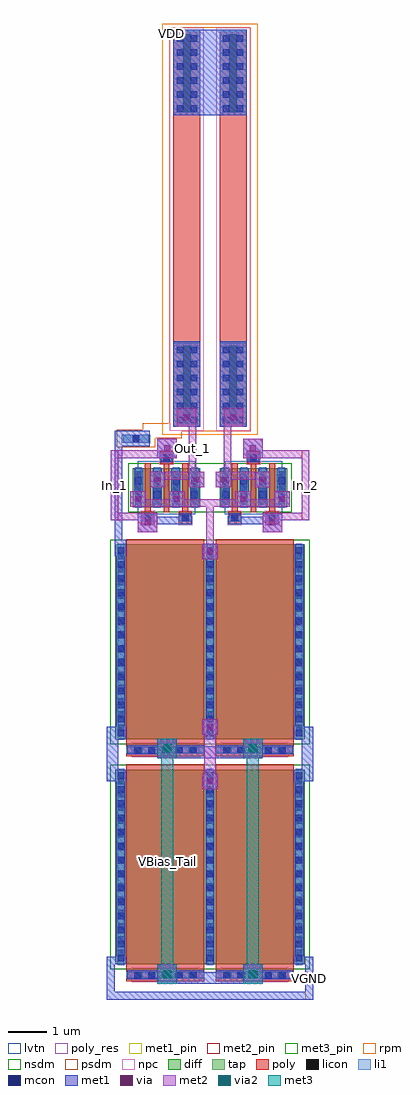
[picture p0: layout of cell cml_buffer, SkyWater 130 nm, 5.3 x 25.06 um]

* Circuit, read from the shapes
.subckt cml_buffer In_1 In_2 Out_1 Out_2 VBias_Tail VDD VGND
XM1 n1 VBias_Tail VGND VGND sky130_fd_pr__nfet_01v8 w=5 l=2 m=4
XM2 Out_1 In_1 n1 VGND sky130_fd_pr__nfet_01v8_lvt w=1 l=0.15 m=3
XM3 n1 In_2 Out_2 VGND sky130_fd_pr__nfet_01v8_lvt w=1 l=0.15 m=3
XR4 VDD Out_1 VGND sky130_fd_pr__res_high_po w=0.69 l=5.88
XR5 VDD Out_2 VGND sky130_fd_pr__res_high_po w=0.69 l=5.88
.ends

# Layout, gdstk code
from math import pi, radians
import gdstk
lib = gdstk.Library(unit=1e-6, precision=1e-09)
def R(c, l, rs):  # rectangles x0, y0, x1, y1
    for r in rs: c.add(gdstk.rectangle(r[:2], r[2:], *l))
def A(c, l, x, y, w, h, nx, ny, dx, dy):  # array of equal rectangles
    R(c, l, [(x+i*dx, y+j*dy, x+i*dx+w, y+j*dy+h) for i in range(nx) for j in range(ny)])
diff = (65, 20)
tap = (65, 44)
poly_res = (66, 13)
poly = (66, 20)
licon = (66, 44)
li1 = (67, 20)
mcon = (67, 44)
met1_pin = (68, 16)
met1 = (68, 20)
via = (68, 44)
met2_pin = (69, 16)
met2 = (69, 20)
via2 = (69, 44)
met3_pin = (70, 16)
met3 = (70, 20)
rpm = (86, 20)
nsdm = (93, 44)
psdm = (94, 20)
npc = (95, 20)
lvtn = (125, 44)

sky130_fd_pr__nfet_01v8_ = lib.new_cell('sky130_fd_pr__nfet_01v8_2FLCLW')
R(sky130_fd_pr__nfet_01v8_, diff, [(-2.435,-5.235,2.435,-0.235), (-2.435,0.545,2.435,5.545)])
R(sky130_fd_pr__nfet_01v8_, poly, [(-2.145,-5.675,-0.145,-0.105), (0.145,-5.675,2.145,-0.105), (-2.145,0.105,-0.145,5.675), (0.145,0.105,2.145,5.675)])
A(sky130_fd_pr__nfet_01v8_, licon, -1.91, -5.595, 0.17, 0.17, 5, 2, 0.34, 5.78)
A(sky130_fd_pr__nfet_01v8_, licon, 0.38, -5.595, 0.17, 0.17, 5, 2, 0.34, 5.78)
A(sky130_fd_pr__nfet_01v8_, licon, -2.375, -5.03, 0.17, 0.17, 3, 14, 2.29, 0.34)
A(sky130_fd_pr__nfet_01v8_, licon, -2.375, 0.75, 0.17, 0.17, 3, 14, 2.29, 0.34)
A(sky130_fd_pr__nfet_01v8_, li1, -2.375, -5.255, 0.17, 5.04, 3, 2, 2.29, 5.78)
R(sky130_fd_pr__nfet_01v8_, li1, [(-2.145,-5.595,-0.145,-5.425), (0.145,-5.595,2.145,-5.425), (-2.145,0.185,-0.145,0.355), (0.145,0.185,2.145,0.355)])
A(sky130_fd_pr__nfet_01v8_, mcon, -1.95, -5.595, 0.17, 0.17, 5, 2, 0.36, 5.78)
A(sky130_fd_pr__nfet_01v8_, mcon, 0.34, -5.595, 0.17, 0.17, 5, 2, 0.36, 5.78)
A(sky130_fd_pr__nfet_01v8_, mcon, -2.375, -5.16, 0.17, 0.17, 3, 14, 2.29, 0.36)
A(sky130_fd_pr__nfet_01v8_, mcon, -2.375, 0.62, 0.17, 0.17, 3, 14, 2.29, 0.36)
A(sky130_fd_pr__nfet_01v8_, met1, -2.405, -5.235, 0.23, 5, 3, 2, 2.29, 5.78)
R(sky130_fd_pr__nfet_01v8_, met1, [(-2.125,-5.625,-0.165,-5.395), (0.165,-5.625,2.125,-5.395), (-2.125,0.155,-0.165,0.385), (0.165,0.155,2.125,0.385)])
R(sky130_fd_pr__nfet_01v8_, nsdm, [(-2.56,-5.36,2.56,-0.11), (-2.56,0.42,2.56,5.67)])
R(sky130_fd_pr__nfet_01v8_, npc, [(-2.01,-5.695,-0.28,-5.325), (0.28,-5.695,2.01,-5.325), (-2.01,0.085,-0.28,0.455), (0.28,0.085,2.01,0.455)])

sky130_fd_pr__res_high_p = lib.new_cell('sky130_fd_pr__res_high_po_0p69_VZF59X')
R(sky130_fd_pr__res_high_p, poly_res, [(-0.345,-3,0.345,3)])
R(sky130_fd_pr__res_high_p, poly, [(-0.345,-5.08,0.345,5.08)])
R(sky130_fd_pr__res_high_p, licon, [(-0.095,-5,0.095,-3), (-0.095,3,0.095,5)])
R(sky130_fd_pr__res_high_p, li1, [(-0.345,-5.08,0.345,-2.92), (-0.345,2.92,0.345,5.08)])
A(sky130_fd_pr__res_high_p, mcon, -0.265, -4.985, 0.17, 0.17, 1, 6, 0, 0.36)
A(sky130_fd_pr__res_high_p, mcon, 0.095, -4.985, 0.17, 0.17, 1, 6, 0, 0.36)
A(sky130_fd_pr__res_high_p, mcon, -0.265, 3.01, 0.17, 0.17, 1, 6, 0, 0.36)
A(sky130_fd_pr__res_high_p, mcon, 0.095, 3.01, 0.17, 0.17, 1, 6, 0, 0.36)
R(sky130_fd_pr__res_high_p, met1, [(-0.295,-5.05,0.295,-2.945), (-0.295,2.945,0.295,5.05)])
R(sky130_fd_pr__res_high_p, rpm, [(-0.635,-5.28,0.635,5.28)])
R(sky130_fd_pr__res_high_p, psdm, [(-0.455,-5.19,0.455,5.19)])
R(sky130_fd_pr__res_high_p, npc, [(-0.44,-5.175,0.44,5.175)])

c_sky130_fd_pr__nfet_01v8_ = lib.new_cell('sky130_fd_pr__nfet_01v8_lvt_LBHRTN')
R(c_sky130_fd_pr__nfet_01v8_, diff, [(-0.865,-0.5,0.865,0.5)])
R(c_sky130_fd_pr__nfet_01v8_, poly, [(-0.645,-0.94,-0.315,-0.61), (0.315,-0.94,0.645,-0.61), (-0.075,-0.63,0.075,0.61), (-0.555,-0.61,-0.405,0.63), (0.405,-0.61,0.555,0.63), (-0.165,0.61,0.165,0.94)])
A(c_sky130_fd_pr__nfet_01v8_, licon, -0.805, -0.425, 0.17, 0.17, 4, 3, 0.48, 0.34)
R(c_sky130_fd_pr__nfet_01v8_, licon, [(-0.565,-0.86,-0.395,-0.69), (0.395,-0.86,0.565,-0.69), (-0.085,0.69,0.085,0.86)])
A(c_sky130_fd_pr__nfet_01v8_, li1, -0.805, -0.52, 0.17, 1.04, 4, 1, 0.48, 0)
R(c_sky130_fd_pr__nfet_01v8_, li1, [(-0.645,-0.86,-0.315,-0.69), (0.315,-0.86,0.645,-0.69), (-0.165,0.69,0.165,0.86)])
A(c_sky130_fd_pr__nfet_01v8_, mcon, -0.805, -0.265, 0.17, 0.17, 4, 2, 0.48, 0.36)
R(c_sky130_fd_pr__nfet_01v8_, mcon, [(-0.565,-0.86,-0.395,-0.69), (0.395,-0.86,0.565,-0.69), (-0.085,0.69,0.085,0.86)])
A(c_sky130_fd_pr__nfet_01v8_, met1, -0.835, -0.5, 0.23, 1, 4, 1, 0.48, 0)
R(c_sky130_fd_pr__nfet_01v8_, met1, [(-0.625,-0.89,-0.335,-0.66), (0.335,-0.89,0.625,-0.66), (-0.145,0.66,0.145,0.89)])
R(c_sky130_fd_pr__nfet_01v8_, nsdm, [(-0.99,-0.625,0.99,0.625)])
R(c_sky130_fd_pr__nfet_01v8_, npc, [(-0.665,-0.96,-0.295,-0.59), (0.295,-0.96,0.665,-0.59), (-0.185,0.59,0.185,0.96)])
R(c_sky130_fd_pr__nfet_01v8_, lvtn, [(-0.735,-0.68,0.735,0.68)])

c_sky130_fd_pr__nfet_01v8__ = lib.new_cell('sky130_fd_pr__nfet_01v8_lvt_47EGUN')
R(c_sky130_fd_pr__nfet_01v8__, diff, [(-0.865,-0.5,0.865,0.5)])
R(c_sky130_fd_pr__nfet_01v8__, poly, [(-0.645,-0.94,-0.315,-0.61), (0.315,-0.94,0.645,-0.61), (-0.075,-0.63,0.075,0.61), (-0.555,-0.61,-0.405,0.63), (0.405,-0.61,0.555,0.63), (-0.165,0.61,0.165,0.94)])
A(c_sky130_fd_pr__nfet_01v8__, licon, -0.805, -0.425, 0.17, 0.17, 4, 3, 0.48, 0.34)
R(c_sky130_fd_pr__nfet_01v8__, licon, [(-0.565,-0.86,-0.395,-0.69), (0.395,-0.86,0.565,-0.69), (-0.085,0.69,0.085,0.86)])
A(c_sky130_fd_pr__nfet_01v8__, li1, -0.805, -0.52, 0.17, 1.04, 4, 1, 0.48, 0)
R(c_sky130_fd_pr__nfet_01v8__, li1, [(-0.645,-0.86,-0.315,-0.69), (0.315,-0.86,0.645,-0.69), (-0.165,0.69,0.165,0.86)])
A(c_sky130_fd_pr__nfet_01v8__, mcon, -0.805, -0.265, 0.17, 0.17, 4, 2, 0.48, 0.36)
R(c_sky130_fd_pr__nfet_01v8__, mcon, [(-0.565,-0.86,-0.395,-0.69), (0.395,-0.86,0.565,-0.69), (-0.085,0.69,0.085,0.86)])
A(c_sky130_fd_pr__nfet_01v8__, met1, -0.835, -0.5, 0.23, 1, 4, 1, 0.48, 0)
R(c_sky130_fd_pr__nfet_01v8__, met1, [(-0.625,-0.89,-0.335,-0.66), (0.335,-0.89,0.625,-0.66), (-0.145,0.66,0.145,0.89)])
R(c_sky130_fd_pr__nfet_01v8__, nsdm, [(-0.99,-0.625,0.99,0.625)])
R(c_sky130_fd_pr__nfet_01v8__, npc, [(-0.665,-0.96,-0.295,-0.59), (0.295,-0.96,0.665,-0.59), (-0.185,0.59,0.185,0.96)])
R(c_sky130_fd_pr__nfet_01v8__, lvtn, [(-0.735,-0.68,0.735,0.68)])

cml_buffer = lib.new_cell('cml_buffer')
R(cml_buffer, tap, [(-1.02,9.1,-0.28,9.3)])
R(cml_buffer, licon, [(-0.735,9.115,-0.565,9.285)])
R(cml_buffer, li1, [(-0.98,9.1,-0.32,9.3)])
R(cml_buffer, mcon, [(-0.735,9.115,-0.565,9.285)])
R(cml_buffer, met1_pin, [(3.7,-5.2,3.9,-4.1), (0.2,19.5,0.3,19.7)])
R(cml_buffer, met1, [(-1.4,-5.2,3.9,-5), (-1.4,-5,-1.2,-4.3), (3.7,-5,3.9,-4.3), (-0.1,-4.8,2.6,-4.5), (-0.1,-4.5,0.4,-4.3), (2.1,-4.5,2.6,-4.3), (-1.4,-4.3,-0.9,-4.1), (3.4,-4.3,3.9,-4.1), (1.05,0.2,1.45,0.6), (-1.4,0.4,-0.9,0.7), (3.4,0.4,3.9,0.7), (-1.4,0.7,-1.1,1.5), (3.6,0.7,3.9,1.5), (-0.1,1,2.6,1.3), (-0.1,1.3,0.4,1.5), (2.1,1.3,2.6,1.5), (-1.4,1.5,-0.9,1.8), (3.4,1.5,3.9,1.8), (1.05,1.6,1.45,2), (1.05,6.1,1.45,6.5), (-1.2,6.2,-0.9,6.6), (-1.2,6.6,-1,9), (-0.6,6.8,-0.1,7), (2.6,6.8,3.1,7), (-0.6,7,0.8,7.2), (1.7,7,3.1,7.2), (-0.6,7.2,-0.1,7.3), (2.6,7.2,3.1,7.3), (-0.8,7.45,-0.4,7.85), (0.2,7.45,0.6,7.85), (1.9,7.45,2.3,7.85), (2.9,7.45,3.3,7.85), (-0.2,7.5,0,7.95), (-0.3,7.95,0.1,8.35), (0.7,7.95,1.1,8.35), (1.4,7.95,1.8,8.35), (2.4,7.95,2.8,8.35), (-0.1,8.7,0.4,9.2), (2.1,8.7,2.6,9.2), (-1.2,9,-0.3,9.4), (0.3,9.5,1,11.7), (1.5,9.5,2.2,11.7), (0.3,17.5,2.2,19.5), (0.2,19.5,2.2,19.7)])
R(cml_buffer, via, [(0.075,-4.625,0.225,-4.475), (2.275,-4.625,2.425,-4.475), (1.175,0.325,1.325,0.475), (0.075,1.175,0.225,1.325), (2.275,1.175,2.425,1.325), (1.175,1.725,1.325,1.875), (1.175,6.225,1.325,6.375), (-0.425,6.975,-0.275,7.125), (2.775,6.975,2.925,7.125), (-0.675,7.575,-0.525,7.725), (0.325,7.575,0.475,7.725), (2.025,7.575,2.175,7.725), (3.025,7.575,3.175,7.725), (-0.175,8.075,-0.025,8.225), (0.825,8.075,0.975,8.225), (1.525,8.075,1.675,8.225), (2.525,8.075,2.675,8.225), (0.075,8.875,0.225,9.025), (2.275,8.875,2.425,9.025), (0.575,9.675,0.725,9.825), (1.775,9.675,1.925,9.825)])
R(cml_buffer, met2_pin, [(-1.3,7.1,-1.1,8.9), (3.6,7.1,3.8,8.9), (0.7,8.3,0.9,9.6), (1.6,8.3,1.8,9.6)])
R(cml_buffer, met2, [(-0.1,-4.8,0.4,-4.3), (2.1,-4.8,2.6,-4.3), (1.05,0.2,1.45,0.6), (1.1,0.6,1.4,1.6), (-0.1,1,0.4,1.5), (2.1,1,2.6,1.5), (1.05,1.6,1.45,2), (1.05,6.1,1.45,6.5), (1.15,6.5,1.35,7.45), (-0.6,6.8,-0.1,7.1), (2.6,6.8,3.1,7.1), (-1.3,7.1,-0.1,7.3), (2.6,7.1,3.8,7.3), (-1.3,7.3,-1.1,8.7), (3.6,7.3,3.8,8.7), (-0.8,7.45,3.3,7.65), (-0.8,7.65,-0.4,7.85), (0.2,7.65,0.6,7.85), (1.9,7.65,2.3,7.85), (2.9,7.65,3.3,7.85), (-0.3,7.95,0.1,8.15), (0.7,7.95,1.1,8.15), (1.4,7.95,1.8,8.15), (2.4,7.95,2.8,8.15), (-0.3,8.15,1.1,8.35), (1.4,8.15,2.8,8.35), (0.7,8.35,0.9,9.5), (1.6,8.35,1.8,9.5), (-1.3,8.7,0.4,8.9), (2.1,8.7,3.8,8.9), (-0.1,8.9,0.4,9.2), (2.1,8.9,2.6,9.2), (0.4,9.5,0.9,10), (1.6,9.5,2.1,10)])
R(cml_buffer, via2, [(0.05,-4.65,0.25,-4.45), (2.25,-4.65,2.45,-4.45), (0.05,1.15,0.25,1.35), (2.25,1.15,2.45,1.35)])
R(cml_buffer, met3_pin, [(0,-4.4,0.3,1.1)])
R(cml_buffer, met3, [(-0.1,-4.8,0.4,-4.3), (2.1,-4.8,2.6,-4.3), (0,-4.3,0.3,1), (2.2,-4.3,2.5,1), (-0.1,1,0.4,1.5), (2.1,1,2.6,1.5)])
R(cml_buffer, nsdm, [(1.125,7.315,1.375,8.565)])
R(cml_buffer, psdm, [(-1.145,8.975,-0.155,9.215), (-1.145,9.215,0.52,9.39), (-1.145,9.39,0.2,9.425), (1.11,9.39,1.39,19.77), (-0.475,9.425,0.2,9.6)])
cml_buffer.add(gdstk.Reference(sky130_fd_pr__nfet_01v8_, (1.25,0.94)))
cml_buffer.add(gdstk.Reference(sky130_fd_pr__res_high_p, (1.845,14.58)))
cml_buffer.add(gdstk.Reference(sky130_fd_pr__res_high_p, (0.655,14.58), rotation=pi, x_reflection=True))
cml_buffer.add(gdstk.Reference(c_sky130_fd_pr__nfet_01v8_, (0.135,7.94), rotation=pi, x_reflection=True))
cml_buffer.add(gdstk.Reference(c_sky130_fd_pr__nfet_01v8__, (2.365,7.94)))
cml_buffer.add(gdstk.Label('VGND', (3.8,-4.65), layer=68, texttype=5))
cml_buffer.add(gdstk.Label('VDD', (0.25,19.6), layer=68, texttype=5))
cml_buffer.add(gdstk.Label('In_1', (-1.2,8), layer=69, texttype=5))
cml_buffer.add(gdstk.Label('In_2', (3.7,8), layer=69, texttype=5))
cml_buffer.add(gdstk.Label('Out_1', (0.8,8.95), layer=69, texttype=5))
cml_buffer.add(gdstk.Label('Out_2', (1.7,8.95), layer=69, texttype=5))
cml_buffer.add(gdstk.Label('VBias_Tail', (0.15,-1.65), layer=70, texttype=5))

lib.write_gds('cml_buffer.gds')
